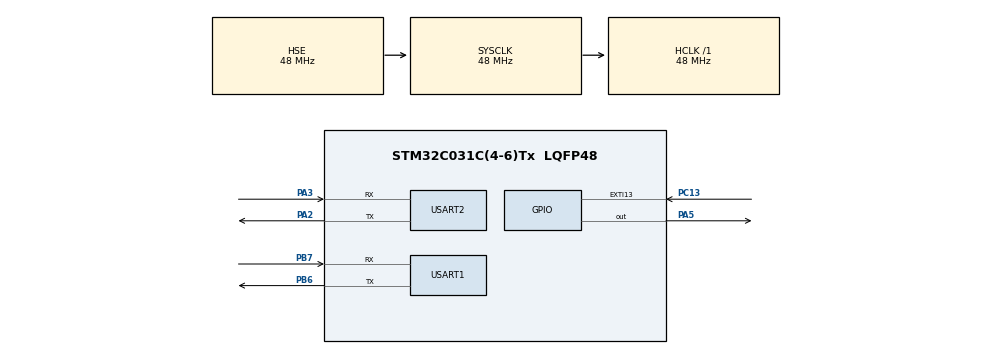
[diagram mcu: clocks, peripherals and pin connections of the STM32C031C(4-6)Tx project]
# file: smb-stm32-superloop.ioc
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Mcu.Family=STM32C0
Mcu.Name=STM32C031C(4-6)Tx
Mcu.Package=LQFP48
NUCLEO-C031C6.BUTTON=1
NUCLEO-C031C6.LD4=true
NUCLEO-C031C6.VCP=false
NVIC.EXTI4_15_IRQn=true\:0\:0\:false\:false\:true\:true\:true\:true
NVIC.TIM14_IRQn=true\:0\:0\:false\:false\:true\:true\:true\:true
PA13.Mode=Serial_Wire
PA13.Signal=DEBUG_SWDIO
PA14-BOOT0.Mode=Serial_Wire
PA14-BOOT0.Signal=DEBUG_SWCLK
PA2.Mode=Asynchronous
PA2.Signal=USART2_TX
PA3.Mode=Asynchronous
PA3.Signal=USART2_RX
PA5.Signal=GPIO_Output
PB6.Mode=Asynchronous
PB6.Signal=USART1_TX
PB7.Mode=Asynchronous
PB7.Signal=USART1_RX
PC13.Signal=GPXTI13
PC14-OSCX_IN\ (PC14).GPIO_Label=RCC_OSCX_IN
PC14-OSCX_IN\ (PC14).Mode=LSE-External-Oscillator
PC14-OSCX_IN\ (PC14).Signal=RCC_OSCX_IN
PC15-OSCX_OUT\ (PC15).GPIO_Label=RCC_OSCX_OUT
PC15-OSCX_OUT\ (PC15).Mode=LSE-External-Oscillator
PC15-OSCX_OUT\ (PC15).Signal=RCC_OSCX_OUT
PF0-OSC_IN\ (PF0).GPIO_Label=RCC_OSC_IN
PF0-OSC_IN\ (PF0).Mode=HSE-External-Oscillator
PF0-OSC_IN\ (PF0).Signal=RCC_OSC_IN
PF1-OSC_OUT\ (PF1).GPIO_Label=RCC_OSC_OUT
PF1-OSC_OUT\ (PF1).Mode=HSE-External-Oscillator
PF1-OSC_OUT\ (PF1).Signal=RCC_OSC_OUT
ProjectManager.HeapSize=0x200
ProjectManager.StackSize=0x400
ProjectManager.TargetToolchain=STM32CubeIDE
RCC.ADCFreq_Value=48000000
RCC.AHBFreq_Value=48000000
RCC.CortexFreq_Value=48000000
RCC.EXTERNAL_CLOCK_VALUE=12288000
RCC.HCLKFreq_Value=48000000
RCC.HSE_VALUE=48000000
RCC.HSISYSCLKDivider=RCC_HSI_DIV1
RCC.HSI_VALUE=48000000
RCC.SYSCLKFreq_VALUE=48000000
RCC.SYSCLKSource=RCC_SYSCLKSOURCE_HSE
TIM14.AutoReloadPreload=TIM_AUTORELOAD_PRELOAD_ENABLE
TIM14.Channel=TIM_CHANNEL_1
TIM14.Prescaler=48
TIM16.Channel=TIM_CHANNEL_1
TIM16.Prescaler=48
USART1.FIFOMode=FIFOMODE_ENABLE
USART1.Parity=PARITY_EVEN
USART1.VirtualMode-Asynchronous=VM_ASYNC
USART1.WordLength=WORDLENGTH_9B
USART2.VirtualMode-Asynchronous=VM_ASYNC
VP_NUCLEO-C031C6_VS_BSP_COMMON.Mode=COMMON
VP_TIM14_VS_ClockSourceINT.Mode=Enable_Timer
VP_TIM14_VS_no_output1.Mode=Output Compare1 No Output
VP_TIM16_VS_ClockSourceINT.Mode=Enable_Timer
VP_TIM16_VS_no_output1.Mode=Output Compare1 No Output
board=NUCLEO-C031C6

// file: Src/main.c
/* USER CODE BEGIN Header */
/**
 ******************************************************************************
 * @file           : main.c
 * @brief          : Main program body
 ******************************************************************************
 * @attention
 *
 * Copyright (c) 2025 STMicroelectronics.
 * All rights reserved.
 *
 * This software is licensed under terms that can be found in the LICENSE file
 * in the root directory of this software component.
 * If no LICENSE file comes with this software, it is provided AS-IS.
 *
 ******************************************************************************
 */
/* USER CODE END Header */
#include "main.h"

/* USER CODE BEGIN Includes */
#include <errno.h>
#include <stdbool.h>
#include <stddef.h>
#include <stdint.h>
#include <stdio.h>

#include "simple_modbus.h"
#include "simple_modbus_rtu.h"

/* USER CODE END Includes */

/* USER CODE BEGIN PD */
#define MEASURE_TIME
#define INVALID       (42)
#define ADDRESS_START (1000)
#define ADDRESS_END   (1199)
/* USER CODE END PD */

TIM_HandleTypeDef htim14;
TIM_HandleTypeDef htim16;

UART_HandleTypeDef huart1;
UART_HandleTypeDef huart2;

/* USER CODE BEGIN PV */
static uint16_t regs[200] = {0};
static uint8_t byte = 0;
volatile bool timer_elapsed = false;
volatile bool did_receive_frame = false;
static bool is_new_duration = false;
#ifdef MEASURE_TIME
static uint32_t duration_us = 0;
#endif
/* USER CODE END PV */

void SystemClock_Config(void);
static void MX_GPIO_Init(void);
static void MX_USART1_UART_Init(void);
static void MX_USART2_UART_Init(void);
static void MX_TIM14_Init(void);
static void MX_TIM16_Init(void);
/* USER CODE BEGIN PFP */
#ifdef __GNUC__
#define PUTCHAR_PROTOTYPE int __io_putchar(int ch)
#else
#define PUTCHAR_PROTOTYPE int fputc(int ch, FILE* f)
#endif

PUTCHAR_PROTOTYPE
{
    HAL_UART_Transmit(&huart2, (uint8_t*)&ch, 1, HAL_MAX_DELAY);
    return ch;
}

// CALLBACK FUNCTIONS FOR SIMPLE-MODBUS RTU
static void frame_received(void)
{
    BSP_LED_Toggle(LED_GREEN);

    if (did_receive_frame)
    {
        // Here we would have a timing problem.
        __BKPT();
    }
    else
    {
        // Notify main loop that we received a frame.
        did_receive_frame = true;
    }
}
static void start_timer(uint16_t duration_us)
{
    HAL_NVIC_DisableIRQ(TIM14_IRQn);
    HAL_TIM_OC_Stop(&htim14, TIM_CHANNEL_1);
    __HAL_TIM_SET_COUNTER(&htim14, 0);
    __HAL_TIM_SET_COMPARE(&htim14, TIM_CHANNEL_1, duration_us);
    HAL_NVIC_EnableIRQ(TIM14_IRQn);
    HAL_TIM_OC_Start_IT(&htim14, TIM_CHANNEL_1);
}
static int16_t write_bytes(const uint8_t* bytes, uint16_t length)
{
    static const uint32_t TIMEOUT_MS = 1;

    HAL_StatusTypeDef status = HAL_OK;
    int16_t i = 0;
    while (HAL_OK == status && i < length)
    {
        status = HAL_UART_Transmit(&huart1, &bytes[i], 1, TIMEOUT_MS);
        i++;
    }
    if (HAL_TIMEOUT != status && HAL_OK != status)
    {
        return -status;
    }
    else
    {
        if (i == length)
        {
#ifdef MEASURE_TIME
            if (is_new_duration)
            {
                __BKPT();
            }
            else
            {
                HAL_TIM_Base_Stop(&htim16);
                duration_us = __HAL_TIM_GET_COUNTER(&htim16);
            }
#endif
            is_new_duration = true;
        }
        return i;
    }
}

// CALLBACK FUNCTIONS FOR SIMPLE-MODBUS SERVER
static int16_t read_regs(uint16_t* const buffer, uint16_t n_regs, uint16_t start_addr)
{
    int16_t result = n_regs - 1;

    bool is_address_in_range = (start_addr >= ADDRESS_START) && (start_addr <= ADDRESS_END);
    bool are_regs_in_range = (start_addr + n_regs) <= (ADDRESS_END + 1);
    if (is_address_in_range && are_regs_in_range)
    {
        uint16_t offset = start_addr - ADDRESS_START;
        for (uint16_t i = 0; i < n_regs; i++)
        {
            buffer[i] = regs[i + offset];
        }
        result = n_regs;
    }

    return result;
}
static int16_t write_regs(const uint16_t* const buffer, uint16_t n_regs, uint16_t start_addr)
{
    int16_t result = n_regs - 1;

    bool is_address_in_range = (start_addr >= ADDRESS_START) && (start_addr <= ADDRESS_END);
    bool are_regs_in_range = (start_addr + n_regs) <= (ADDRESS_END + 1);
    if (is_address_in_range && are_regs_in_range)
    {
        uint16_t offset = (start_addr - ADDRESS_START);
        for (uint16_t i = 0; i < n_regs; i++)
        {
            regs[i + offset] = buffer[i];
        }
        result = n_regs;
    }

    return result;
}

/* USER CODE END PFP */

int main(void)
{

    /* MCU Configuration--------------------------------------------------------*/

    /* Reset of all peripherals, Initializes the Flash interface and the Systick. */
    HAL_Init();

    /* Configure the system clock */
    SystemClock_Config();

    /* Initialize all configured peripherals */
    MX_GPIO_Init();
    MX_USART1_UART_Init();
    MX_USART2_UART_Init();
    MX_TIM14_Init();
    MX_TIM16_Init();
    /* USER CODE BEGIN 2 */

    // Configure simple-modbus
    struct smb_rtu_if_t rtu_if = {
        .frame_received = frame_received,
        .start_counter = start_timer,
        .write = write_bytes,
    };
    struct smb_transport_if_t transport = {
        .read_frame = smb_rtu_read_pdu,
        .write_frame = smb_rtu_write_pdu,
    };
    struct smb_server_if_t callbacks = {
        .read_input_regs = read_regs,
        .read_holding_regs = read_regs,
        .write_regs = write_regs,
    };
    if (0 == smb_rtu_config(0x01, 115200, &rtu_if))
    {
        printf("Successfully confgured smb rtu\r\n");
        HAL_Delay(5);  // more than 3.5 char times
    }
    else
    {
        printf("Error configuring smb rtu!\r\n");
        __BKPT();
    }
    if (0 == smb_server_config(0x01, &transport, &callbacks))
    {
        printf("Successfully configured smb server\r\n");
    }
    else
    {
        printf("Error configuring smb server!\r\n");
        __BKPT();
    }
    /* USER CODE END 2 */

    /* Initialize leds */
    BSP_LED_Init(LED_GREEN);

    /* Initialize USER push-button, will be used to trigger an interrupt each time it's pressed.*/
    BSP_PB_Init(BUTTON_USER, BUTTON_MODE_EXTI);

    /* Infinite loop */
    /* USER CODE BEGIN WHILE */
#ifdef MEASURE_TIME
    uint32_t rx_cnt = 0;
#endif
    int16_t poll_ret = 0;
    while (1)
    {
        /* USER CODE END WHILE */

        /* USER CODE BEGIN 3 */

        // Alternative: use LL to check if there is a byte in the receive buffer without a timeout,
        // which slows down the main loop.
        HAL_StatusTypeDef status = HAL_UART_Receive(&huart1, &byte, 1, 1);
        if (HAL_OK == status)
        {
#ifdef MEASURE_TIME
            // Optional, just for timing analysis
            if (rx_cnt == 0)
            {
                __HAL_TIM_SET_COUNTER(&htim16, 0);
                HAL_TIM_Base_Start(&htim16);
            }
            rx_cnt++;
#endif

            // Give byte to simple-modbus
            smb_rtu_receive(byte);
        }
        else if (HAL_TIMEOUT == status)
        {
            // No byte available...
        }
        else
        {
            // Unexpected, handle more gracefully
            __BKPT();
        }

        if (timer_elapsed)
        {
            timer_elapsed = false;
            smb_rtu_timer_timeout();
        }

        // Only poll if a frame was received or if
        // the poll function needs to be called again
        if (poll_ret == -EAGAIN || did_receive_frame)
        {
            did_receive_frame = false;
            poll_ret = smb_server_poll();
        }
        else if (poll_ret == 0)
        {
            // everything is fine
        }
        else
        {
            printf("Error in smb_server_poll(): %d\r\n", poll_ret);
            HAL_Delay(1000);
        }

#ifdef MEASURE_TIME
        if (is_new_duration)
        {
            printf("Duration: %lu us\r\n", duration_us);
            is_new_duration = false;
            rx_cnt = 0;
        }
#endif
    }
    /* USER CODE END 3 */
}

void SystemClock_Config(void)
{
    RCC_OscInitTypeDef RCC_OscInitStruct = {0};
    RCC_ClkInitTypeDef RCC_ClkInitStruct = {0};

    __HAL_FLASH_SET_LATENCY(FLASH_LATENCY_1);

    /** Initializes the RCC Oscillators according to the specified parameters
     * in the RCC_OscInitTypeDef structure.
     */
    RCC_OscInitStruct.OscillatorType = RCC_OSCILLATORTYPE_HSE;
    RCC_OscInitStruct.HSEState = RCC_HSE_ON;
    if (HAL_RCC_OscConfig(&RCC_OscInitStruct) != HAL_OK)
    {
        Error_Handler();
    }

    /** Initializes the CPU, AHB and APB buses clocks
     */
    RCC_ClkInitStruct.ClockType = RCC_CLOCKTYPE_HCLK | RCC_CLOCKTYPE_SYSCLK | RCC_CLOCKTYPE_PCLK1;
    RCC_ClkInitStruct.SYSCLKSource = RCC_SYSCLKSOURCE_HSE;
    RCC_ClkInitStruct.SYSCLKDivider = RCC_SYSCLK_DIV1;
    RCC_ClkInitStruct.AHBCLKDivider = RCC_HCLK_DIV1;
    RCC_ClkInitStruct.APB1CLKDivider = RCC_APB1_DIV1;

    if (HAL_RCC_ClockConfig(&RCC_ClkInitStruct, FLASH_LATENCY_1) != HAL_OK)
    {
        Error_Handler();
    }
}

static void MX_TIM14_Init(void)
{

    TIM_OC_InitTypeDef sConfigOC = {0};

    htim14.Instance = TIM14;
    htim14.Init.Prescaler = 48;
    htim14.Init.CounterMode = TIM_COUNTERMODE_UP;
    htim14.Init.Period = 65535;
    htim14.Init.ClockDivision = TIM_CLOCKDIVISION_DIV1;
    htim14.Init.AutoReloadPreload = TIM_AUTORELOAD_PRELOAD_ENABLE;
    if (HAL_TIM_Base_Init(&htim14) != HAL_OK)
    {
        Error_Handler();
    }
    if (HAL_TIM_OC_Init(&htim14) != HAL_OK)
    {
        Error_Handler();
    }
    sConfigOC.OCMode = TIM_OCMODE_TIMING;
    sConfigOC.Pulse = 0;
    sConfigOC.OCPolarity = TIM_OCPOLARITY_HIGH;
    sConfigOC.OCFastMode = TIM_OCFAST_DISABLE;
    if (HAL_TIM_OC_ConfigChannel(&htim14, &sConfigOC, TIM_CHANNEL_1) != HAL_OK)
    {
        Error_Handler();
    }
}

static void MX_TIM16_Init(void)
{

    TIM_OC_InitTypeDef sConfigOC = {0};
    TIM_BreakDeadTimeConfigTypeDef sBreakDeadTimeConfig = {0};

    htim16.Instance = TIM16;
    htim16.Init.Prescaler = 48;
    htim16.Init.CounterMode = TIM_COUNTERMODE_UP;
    htim16.Init.Period = 65535;
    htim16.Init.ClockDivision = TIM_CLOCKDIVISION_DIV1;
    htim16.Init.RepetitionCounter = 0;
    htim16.Init.AutoReloadPreload = TIM_AUTORELOAD_PRELOAD_DISABLE;
    if (HAL_TIM_Base_Init(&htim16) != HAL_OK)
    {
        Error_Handler();
    }
    if (HAL_TIM_OC_Init(&htim16) != HAL_OK)
    {
        Error_Handler();
    }
    sConfigOC.OCMode = TIM_OCMODE_TIMING;
    sConfigOC.Pulse = 0;
    sConfigOC.OCPolarity = TIM_OCPOLARITY_HIGH;
    sConfigOC.OCNPolarity = TIM_OCNPOLARITY_HIGH;
    sConfigOC.OCFastMode = TIM_OCFAST_DISABLE;
    sConfigOC.OCIdleState = TIM_OCIDLESTATE_RESET;
    sConfigOC.OCNIdleState = TIM_OCNIDLESTATE_RESET;
    if (HAL_TIM_OC_ConfigChannel(&htim16, &sConfigOC, TIM_CHANNEL_1) != HAL_OK)
    {
        Error_Handler();
    }
    sBreakDeadTimeConfig.OffStateRunMode = TIM_OSSR_DISABLE;
    sBreakDeadTimeConfig.OffStateIDLEMode = TIM_OSSI_DISABLE;
    sBreakDeadTimeConfig.LockLevel = TIM_LOCKLEVEL_OFF;
    sBreakDeadTimeConfig.DeadTime = 0;
    sBreakDeadTimeConfig.BreakState = TIM_BREAK_DISABLE;
    sBreakDeadTimeConfig.BreakPolarity = TIM_BREAKPOLARITY_HIGH;
    sBreakDeadTimeConfig.BreakFilter = 0;
    sBreakDeadTimeConfig.AutomaticOutput = TIM_AUTOMATICOUTPUT_DISABLE;
    if (HAL_TIMEx_ConfigBreakDeadTime(&htim16, &sBreakDeadTimeConfig) != HAL_OK)
    {
        Error_Handler();
    }
}

static void MX_USART1_UART_Init(void)
{

    huart1.Instance = USART1;
    huart1.Init.BaudRate = 115200;
    huart1.Init.WordLength = UART_WORDLENGTH_9B;
    huart1.Init.StopBits = UART_STOPBITS_1;
    huart1.Init.Parity = UART_PARITY_EVEN;
    huart1.Init.Mode = UART_MODE_TX_RX;
    huart1.Init.HwFlowCtl = UART_HWCONTROL_NONE;
    huart1.Init.OverSampling = UART_OVERSAMPLING_16;
    huart1.Init.OneBitSampling = UART_ONE_BIT_SAMPLE_DISABLE;
    huart1.Init.ClockPrescaler = UART_PRESCALER_DIV1;
    huart1.AdvancedInit.AdvFeatureInit = UART_ADVFEATURE_NO_INIT;
    if (HAL_UART_Init(&huart1) != HAL_OK)
    {
        Error_Handler();
    }
    if (HAL_UARTEx_SetTxFifoThreshold(&huart1, UART_TXFIFO_THRESHOLD_1_8) != HAL_OK)
    {
        Error_Handler();
    }
    if (HAL_UARTEx_SetRxFifoThreshold(&huart1, UART_RXFIFO_THRESHOLD_1_8) != HAL_OK)
    {
        Error_Handler();
    }
    if (HAL_UARTEx_EnableFifoMode(&huart1) != HAL_OK)
    {
        Error_Handler();
    }
}

static void MX_USART2_UART_Init(void)
{

    huart2.Instance = USART2;
    huart2.Init.BaudRate = 115200;
    huart2.Init.WordLength = UART_WORDLENGTH_8B;
    huart2.Init.StopBits = UART_STOPBITS_1;
    huart2.Init.Parity = UART_PARITY_NONE;
    huart2.Init.Mode = UART_MODE_TX_RX;
    huart2.Init.HwFlowCtl = UART_HWCONTROL_NONE;
    huart2.Init.OverSampling = UART_OVERSAMPLING_16;
    huart2.Init.OneBitSampling = UART_ONE_BIT_SAMPLE_DISABLE;
    huart2.Init.ClockPrescaler = UART_PRESCALER_DIV1;
    huart2.AdvancedInit.AdvFeatureInit = UART_ADVFEATURE_NO_INIT;
    if (HAL_UART_Init(&huart2) != HAL_OK)
    {
        Error_Handler();
    }
}

static void MX_GPIO_Init(void)
{

    /* GPIO Ports Clock Enable */
    __HAL_RCC_GPIOC_CLK_ENABLE();
    __HAL_RCC_GPIOF_CLK_ENABLE();
    __HAL_RCC_GPIOA_CLK_ENABLE();
    __HAL_RCC_GPIOB_CLK_ENABLE();

}

/* USER CODE BEGIN 4 */
void HAL_TIM_OC_DelayElapsedCallback(TIM_HandleTypeDef* htim)
{
    /* USER CODE BEGIN Callback 0 */

    /* USER CODE END Callback 0 */
    if (htim->Instance == TIM14)
    {
        HAL_TIM_OC_Stop(&htim14, TIM_CHANNEL_1);
        if (timer_elapsed)
        {
            __BKPT();
        }
        timer_elapsed = true;
    }
    /* USER CODE BEGIN Callback 1 */

    /* USER CODE END Callback 1 */
}

/* USER CODE END 4 */

void Error_Handler(void)
{
    __disable_irq();
    while (1)
    {
    }
}
